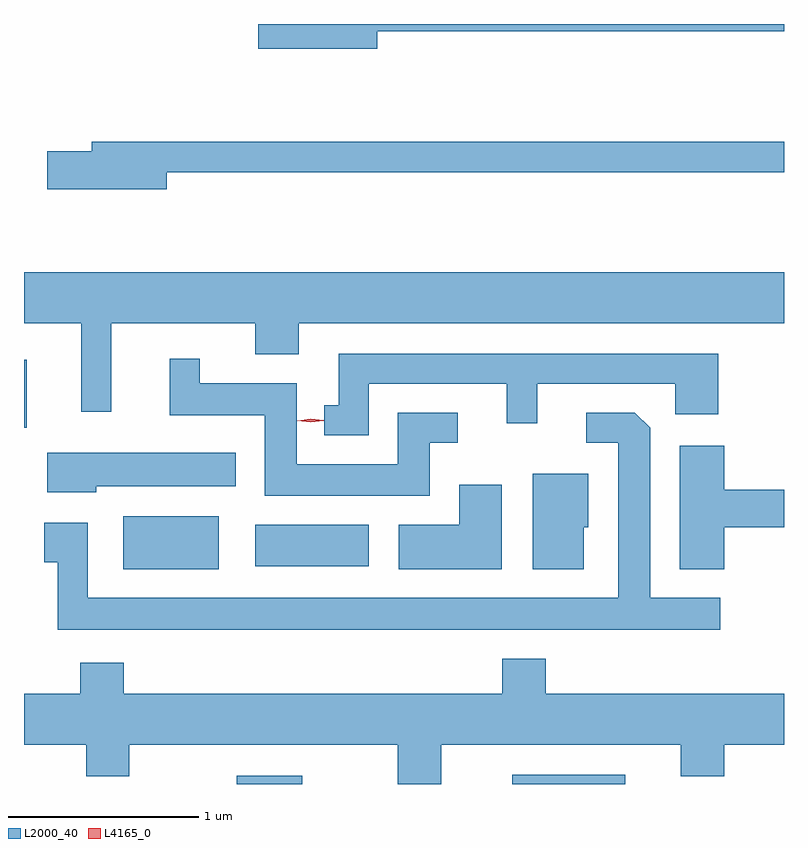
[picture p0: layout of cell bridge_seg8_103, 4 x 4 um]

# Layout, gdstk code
import gdstk
lib = gdstk.Library(unit=1e-6, precision=1e-09)
def R(c, l, rs):  # rectangles x0, y0, x1, y1
    for r in rs: c.add(gdstk.rectangle(r[:2], r[2:], *l))
def P(c, l, *ps):  # polygons
    for p in ps: c.add(gdstk.Polygon(p, *l))
L2000_40 = (2000, 40)
L4165_0 = (4165, 0)

bridge_seg8_103 = lib.new_cell('bridge_seg8_103')
R(bridge_seg8_103, L2000_40, [(1559.363,1809.57,1559.709,1809.614), (1560.813,1809.57,1561.409,1809.619), (1558.766,1810.701,1559.269,1810.979), (1559.461,1810.716,1560.059,1810.934), (1558.244,1811.446,1558.259,1811.804)])
P(bridge_seg8_103, L2000_40, [(1560.104,1813.531),(1562.244,1813.531),(1562.244,1813.57),(1559.476,1813.57),(1559.476,1813.441),(1560.104,1813.441)],
  [(1558.994,1812.791),(1562.244,1812.791),(1562.244,1812.949),(1558.601,1812.949),(1558.601,1812.899),(1558.366,1812.899),(1558.366,1812.701),(1558.994,1812.701)],
  [(1558.704,1811.996),(1559.461,1811.996),(1559.461,1811.831),(1559.689,1811.831),(1559.689,1811.996),(1562.244,1811.996),(1562.244,1812.264),(1558.244,1812.264),(1558.244,1811.996),(1558.546,1811.996),(1558.546,1811.528),(1558.704,1811.528)],
  [(1560.059,1811.676),(1560.786,1811.676),(1560.786,1811.468),(1560.944,1811.468),(1560.944,1811.676),(1561.671,1811.676),(1561.671,1811.516),(1561.899,1811.516),(1561.899,1811.834),(1559.901,1811.834),(1559.901,1811.564),(1559.823,1811.564),(1559.823,1811.406),(1560.059,1811.406)],
  [(1560.379,1811.366),(1560.528,1811.366),(1560.528,1811.524),(1560.211,1811.524),(1560.211,1811.254),(1559.679,1811.254),(1559.679,1811.679),(1559.169,1811.679),(1559.169,1811.808),(1559.011,1811.808),(1559.011,1811.511),(1559.511,1811.511),(1559.511,1811.086),(1560.379,1811.086)],
  [(1561.908,1810.549),(1561.539,1810.549),(1561.539,1811.444),(1561.459,1811.524),(1561.203,1811.524),(1561.203,1811.366),(1561.371,1811.366),(1561.371,1810.549),(1558.579,1810.549),(1558.579,1810.944),(1558.351,1810.944),(1558.351,1810.736),(1558.421,1810.736),(1558.421,1810.381),(1561.908,1810.381)],
  [(1561.929,1810.921),(1562.244,1810.921),(1562.244,1811.119),(1561.929,1811.119),(1561.929,1811.349),(1561.696,1811.349),(1561.696,1810.701),(1561.929,1810.701)],
  [(1558.624,1811.136),(1559.359,1811.136),(1559.359,1811.314),(1558.366,1811.314),(1558.366,1811.106),(1558.624,1811.106)],
  [(1561.189,1810.921),(1561.214,1810.921),(1561.214,1811.204),(1560.921,1811.204),(1560.921,1810.701),(1561.189,1810.701)],
  [(1560.759,1811.144),(1560.536,1811.144),(1560.536,1810.934),(1560.216,1810.934),(1560.216,1810.701),(1560.759,1810.701)],
  [(1560.439,1809.776),(1561.701,1809.776),(1561.701,1809.611),(1561.929,1809.611),(1561.929,1809.776),(1562.244,1809.776),(1562.244,1810.044),(1560.989,1810.044),(1560.989,1810.229),(1560.761,1810.229),(1560.761,1810.044),(1558.769,1810.044),(1558.769,1810.209),(1558.541,1810.209),(1558.541,1810.044),(1558.244,1810.044),(1558.244,1809.776),(1558.571,1809.776),(1558.571,1809.611),(1558.799,1809.611),(1558.799,1809.776),(1560.211,1809.776),(1560.211,1809.57),(1560.439,1809.57)])
P(bridge_seg8_103, L4165_0, [(1559.752,1811.473),(1559.682,1811.482),(1559.682,1811.483),(1559.682,1811.483),(1559.752,1811.493),(1559.821,1811.484),(1559.821,1811.483),(1559.821,1811.483)])

lib.write_gds('bridge_seg8_103.gds')
